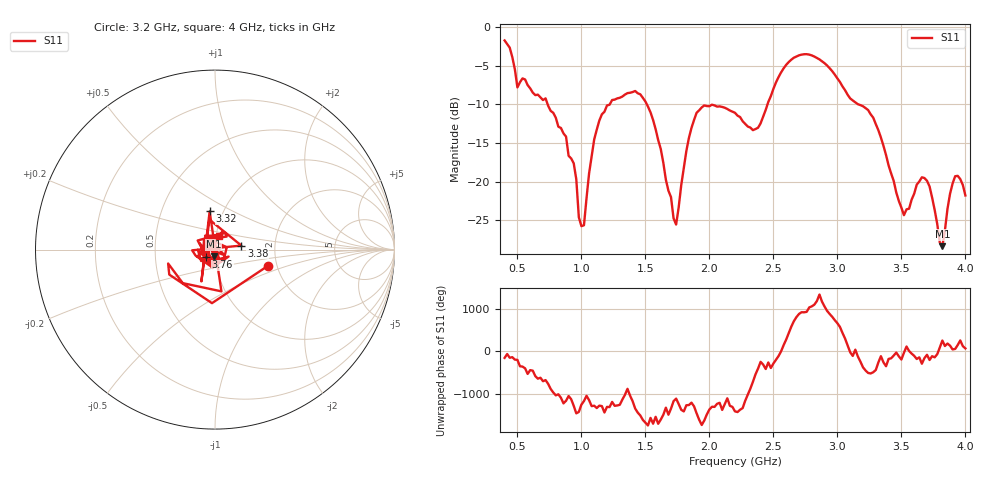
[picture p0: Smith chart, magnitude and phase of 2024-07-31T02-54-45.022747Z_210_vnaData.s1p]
!Created with skrf (http://scikit-rf.org).
# Hz S RI R 50.0
!freq ReS11 ImS11
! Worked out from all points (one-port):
!   181 points, 400 MHz to 4 GHz, reference 50 ohm
!   lowest |S11| = -28.3 dB at 3.82 GHz (marker M1), VSWR 1.08, Z = 49.1 - j3.7 ohm
!   |S11| at or under -10 dB: 736.1 MHz to 1.222 GHz (485.7 MHz wide, 49.6 % of centre); 1.511 GHz to 2.454 GHz (943.1 MHz wide, 47.6 % of centre); 3.162 GHz to end of sweep
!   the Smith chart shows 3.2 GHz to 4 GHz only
!   S11 on the Smith chart (normalised r, x): 3.2 GHz: 1.78, -0.36; 3.32 GHz: 0.86, +0.39; 3.38 GHz: 1.34, +0.06; 3.76 GHz: 0.90, -0.08; 4 GHz: 1.04, +0.16
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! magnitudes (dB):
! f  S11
! 400 MHz  -1.7
! 500 MHz  -7.8
! 720 MHz  -9.2
! 860 MHz  -13.8
! 940 MHz  -17.6
! 1.02 GHz  -25.6
! 1.12 GHz  -13.3
! 1.3 GHz  -9.2
! 1.5 GHz  -9.6
! 1.62 GHz  -15.8
! 1.72 GHz  -24.7
! 1.76 GHz  -23.3
! 1.9 GHz  -11.1
! 2.2 GHz  -11.1
! 2.38 GHz  -13.0
! 2.66 GHz  -4.0
! 2.86 GHz  -4.2
! 3.1 GHz  -9.2
! 3.2 GHz  -10.2
! 3.32 GHz  -13.4
! 3.38 GHz  -16.6
! 3.52 GHz  -24.3
! 3.56 GHz  -23.5
! 3.66 GHz  -19.4
! 3.76 GHz  -23.7
! 3.82 GHz  -28.3
! 3.92 GHz  -19.3
! 4 GHz  -21.8
